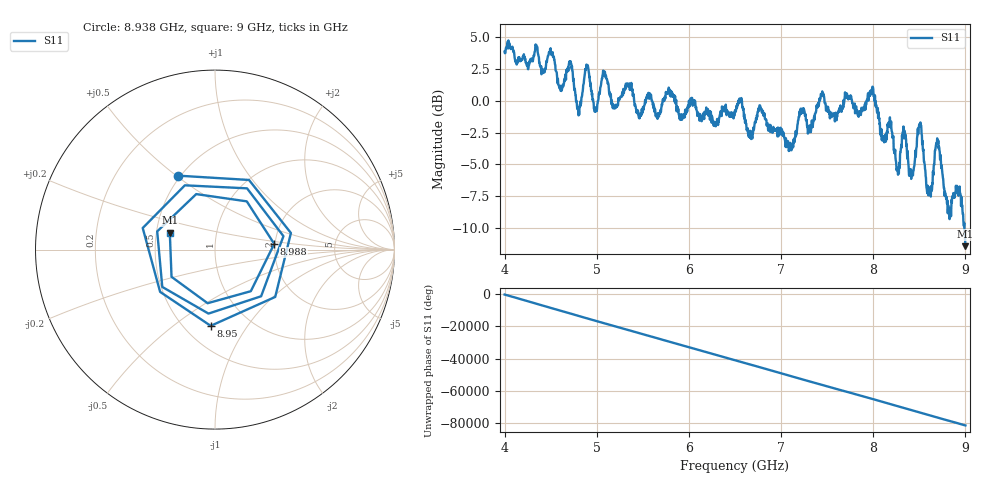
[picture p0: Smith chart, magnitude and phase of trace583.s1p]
! Created with skrf 1.8.0 (http://scikit-rf.org).
# Hz S RI R 50.0
!freq ReS11 ImS11
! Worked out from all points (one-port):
!   1601 points, 4 GHz to 9 GHz, reference 50 ohm
!   lowest |S11| = -11.4 dB at 9 GHz (marker M1), VSWR 1.73, Z = 29.4 + j5.94 ohm
!   |S11| at or under -10 dB: 8.989762 GHz to end of sweep
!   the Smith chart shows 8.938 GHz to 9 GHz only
!   S11 on the Smith chart (normalised r, x): 8.938 GHz: 0.48, +0.51; 8.95 GHz: 0.67, -0.69; 8.988 GHz: 1.98, +0.14; 9 GHz: 0.59, +0.12
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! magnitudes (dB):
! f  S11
! 4 GHz  3.9
! 4.506 GHz  3.6
! 4.625 GHz  1.0
! 4.712 GHz  2.9
! 4.8 GHz  -0.6
! 4.891 GHz  2.8
! 4.981 GHz  -0.6
! 5.081 GHz  2.3
! 5.25 GHz  0.2
! 5.875 GHz  -0.7
! 6.5 GHz  -0.7
! 7.125 GHz  -3.7
! 7.225 GHz  -0.8
! 7.306 GHz  -2.2
! 7.75 GHz  0.3
! 7.988 GHz  1.0
! 8.262 GHz  -5.4
! 8.331 GHz  -2.4
! 8.375 GHz  -4.3
! 8.422 GHz  -5.5
! 8.503 GHz  -1.9
! 8.6 GHz  -7.4
! 8.694 GHz  -2.9
! 8.822 GHz  -8.8
! 8.938 GHz  -6.7
! 8.95 GHz  -7.4
! 8.988 GHz  -9.6
! 9 GHz  -11.4
